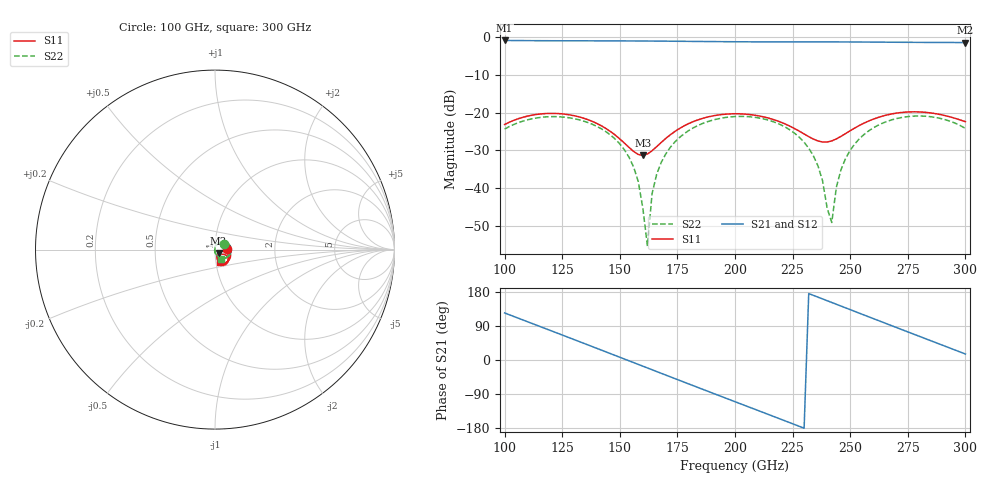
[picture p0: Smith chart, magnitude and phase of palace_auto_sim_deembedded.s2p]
! Created with skrf 1.11.0 (http://scikit-rf.org).
# GHz S DB R 50.0
!freq dBS11 angS11 dBS21 angS21 dBS12 angS12 dBS22 angS22
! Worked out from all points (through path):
!   101 points, 100 GHz to 300 GHz, reference 50 ohm
!   highest |S21| = -0.87 dB at 100 GHz (marker M1); lowest = -1.4 dB at 300 GHz (marker M2)
!   group delay of S21, straight-line fit = 6.51 ps
!   lowest |S11| = -31.4 dB at 160 GHz (marker M3), VSWR 1.06, Z = 52 - j1.93 ohm
!   |S11| at or under -10 dB: start of sweep to end of sweep
!   |S22| runs from -55.5 to -20.9 dB; largest |S21 - S12| = 1e-13
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100  -23.17 2.2  -0.87 124.2  -0.87 124.2  -24.40 34.2
116  -20.35 -27.5  -0.93 86.9  -0.93 86.9  -21.25 2.6
134  -21.44 -61.2  -0.96 44.9  -0.96 44.9  -22.21 -35.3
152  -28.11 -74.6  -0.99 2.6  -0.99 2.6  -29.89 -74.6
158  -31.12 -54.6  -1.01 -11.6  -1.01 -11.6  -38.29 -89.7
160  -31.37 -43.3  -1.01 -16.3  -1.01 -16.3  -45.37 -98.4
162  -31.00 -32.3  -1.02 -21.0  -1.02 -21.0  -55.47 111.1
164  -30.15 -23.4  -1.03 -25.7  -1.03 -25.7  -41.53 85.8
168  -27.93 -13.7  -1.05 -35.1  -1.05 -35.1  -33.21 74.1
180  -22.91 -17.6  -1.11 -63.3  -1.11 -63.3  -24.75 46.9
200  -20.33 -46.8  -1.21 -110.0  -1.21 -110.0  -21.07 3.1
220  -22.58 -72.4  -1.25 -156.6  -1.25 -156.6  -23.29 -42.4
234  -27.04 -66.5  -1.24 170.6  -1.24 170.6  -31.46 -78.4
238  -27.82 -54.9  -1.25 161.2  -1.25 161.2  -38.11 -93.7
240  -27.82 -48.1  -1.25 156.5  -1.25 156.5  -45.39 -113.4
242  -27.53 -41.7  -1.25 151.8  -1.25 151.8  -49.19 130.0
244  -27.00 -36.3  -1.25 147.0  -1.25 147.0  -39.81 96.1
250  -24.83 -27.7  -1.27 132.9  -1.27 132.9  -30.01 72.8
258  -22.26 -29.3  -1.30 114.1  -1.30 114.1  -24.88 51.7
268  -20.37 -39.8  -1.34 90.6  -1.34 90.6  -21.94 27.1
282  -19.91 -57.5  -1.38 57.8  -1.38 57.8  -20.96 -7.4
300  -22.42 -69.4  -1.42 15.8  -1.42 15.8  -24.22 -55.4
